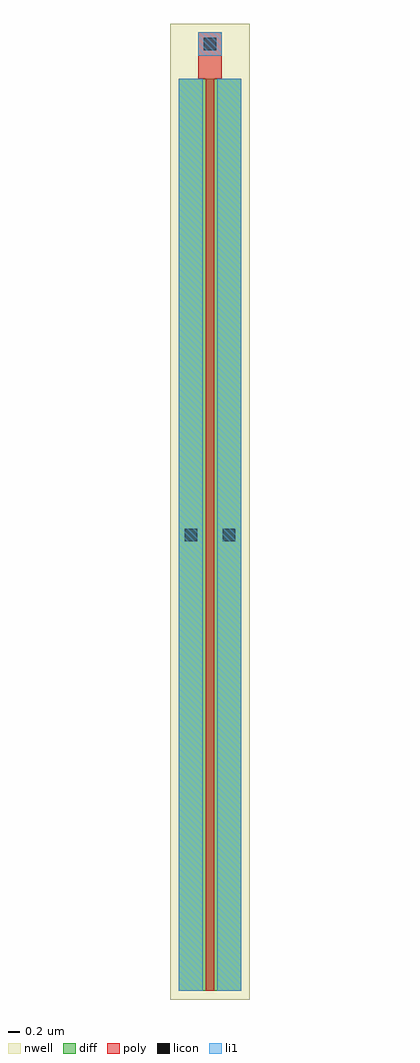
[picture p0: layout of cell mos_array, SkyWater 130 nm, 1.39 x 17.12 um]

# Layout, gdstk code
import gdstk
lib = gdstk.Library(unit=1e-6, precision=1e-09)
def R(c, l, rs):  # rectangles x0, y0, x1, y1
    for r in rs: c.add(gdstk.rectangle(r[:2], r[2:], *l))
nwell = (64, 20)
diff = (65, 20)
poly = (66, 20)
licon = (66, 44)
li1 = (67, 20)

mos_array = lib.new_cell('mos_array')
R(mos_array, nwell, [(-0.15,-0.15,1.24,16.97)])
R(mos_array, diff, [(0,0,1.09,16)])
R(mos_array, poly, [(0.47,0,0.62,16), (0.335,16,0.755,16.82)])
R(mos_array, licon, [(0.1,7.89,0.32,8.11), (0.77,7.89,0.99,8.11), (0.435,16.5,0.655,16.72)])
R(mos_array, li1, [(0,0,0.42,16), (0.67,0,1.09,16), (0.335,16.4,0.755,16.82)])

lib.write_gds('mos_array.gds')
